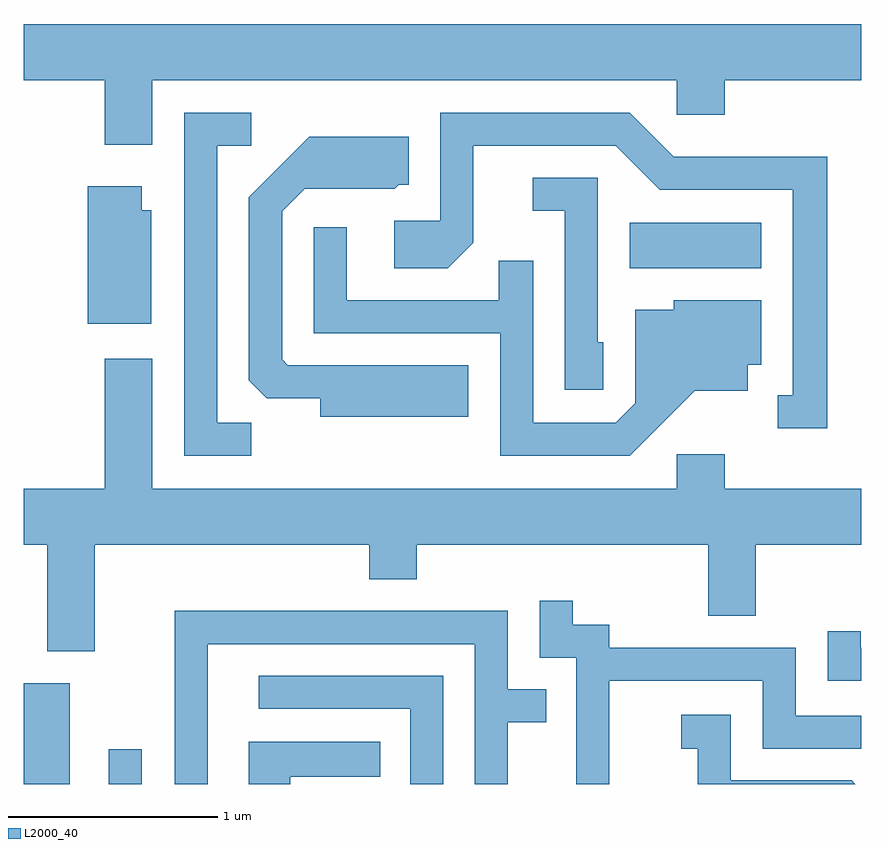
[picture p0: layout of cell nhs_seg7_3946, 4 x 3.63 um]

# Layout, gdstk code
import gdstk
lib = gdstk.Library(unit=1e-6, precision=1e-09)
def R(c, l, rs):  # rectangles x0, y0, x1, y1
    for r in rs: c.add(gdstk.rectangle(r[:2], r[2:], *l))
def P(c, l, *ps):  # polygons
    for p in ps: c.add(gdstk.Polygon(p, *l))
L2000_40 = (2000, 40)

nhs_seg7_3946 = lib.new_cell('nhs_seg7_3946')
R(nhs_seg7_3946, L2000_40, [(305.611,1744.252,305.829,1744.734), (306.016,1744.252,306.174,1744.418), (308.506,1746.716,309.134,1746.934)])
P(nhs_seg7_3946, L2000_40, [(306.224,1747.616),(308.731,1747.616),(308.731,1747.451),(308.959,1747.451),(308.959,1747.616),(309.611,1747.616),(309.611,1747.884),(305.611,1747.884),(305.611,1747.616),(305.996,1747.616),(305.996,1747.306),(306.224,1747.306)],
  [(309.449,1747.249),(308.717,1747.249),(308.507,1747.459),(307.601,1747.459),(307.601,1746.944),(307.381,1746.944),(307.381,1746.716),(307.637,1746.716),(307.759,1746.839),(307.759,1747.301),(308.439,1747.301),(308.649,1747.091),(309.286,1747.091),(309.286,1746.109),(309.213,1746.109),(309.213,1745.951),(309.449,1745.951)],
  [(306.698,1745.979),(306.534,1745.979),(306.534,1747.301),(306.698,1747.301),(306.698,1747.459),(306.376,1747.459),(306.376,1745.821),(306.698,1745.821)],
  [(307.734,1746.254),(306.872,1746.254),(306.844,1746.282),(306.844,1746.989),(306.952,1747.096),(307.382,1747.096),(307.402,1747.116),(307.449,1747.116),(307.449,1747.344),(306.974,1747.344),(306.686,1747.057),(306.686,1746.182),(306.772,1746.096),(307.026,1746.096),(307.026,1746.006),(307.734,1746.006)],
  [(308.379,1746.364),(308.354,1746.364),(308.354,1747.149),(308.043,1747.149),(308.043,1746.991),(308.196,1746.991),(308.196,1746.136),(308.379,1746.136)],
  [(306.219,1746.994),(306.174,1746.994),(306.174,1747.109),(305.916,1747.109),(305.916,1746.451),(306.219,1746.451)],
  [(308.817,1746.131),(309.069,1746.131),(309.069,1746.256),(309.134,1746.256),(309.134,1746.564),(308.716,1746.564),(308.716,1746.519),(308.531,1746.519),(308.531,1746.072),(308.439,1745.979),(308.044,1745.979),(308.044,1746.753),(307.881,1746.753),(307.881,1746.564),(307.154,1746.564),(307.154,1746.913),(306.996,1746.913),(306.996,1746.406),(307.886,1746.406),(307.886,1745.821),(308.507,1745.821)],
  [(305.949,1745.396),(307.261,1745.396),(307.261,1745.231),(307.489,1745.231),(307.489,1745.396),(308.881,1745.396),(308.881,1745.056),(309.109,1745.056),(309.109,1745.396),(309.611,1745.396),(309.611,1745.664),(308.959,1745.664),(308.959,1745.829),(308.731,1745.829),(308.731,1745.664),(306.224,1745.664),(306.224,1746.284),(305.996,1746.284),(305.996,1745.664),(305.611,1745.664),(305.611,1745.396),(305.721,1745.396),(305.721,1744.886),(305.949,1744.886)],
  [(308.409,1744.746),(309.141,1744.746),(309.141,1744.421),(309.611,1744.421),(309.611,1744.579),(309.299,1744.579),(309.299,1744.904),(308.409,1744.904),(308.409,1745.014),(308.234,1745.014),(308.234,1745.128),(308.076,1745.128),(308.076,1744.856),(308.251,1744.856),(308.251,1744.252),(308.409,1744.252)],
  [(306.489,1744.921),(307.766,1744.921),(307.766,1744.252),(307.924,1744.252),(307.924,1744.546),(308.108,1744.546),(308.108,1744.704),(307.924,1744.704),(307.924,1745.079),(306.331,1745.079),(306.331,1744.252),(306.489,1744.252)],
  [(309.611,1744.904),(309.609,1744.904),(309.609,1744.983),(309.451,1744.983),(309.451,1744.746),(309.611,1744.746)],
  [(307.614,1744.769),(306.733,1744.769),(306.733,1744.611),(307.456,1744.611),(307.456,1744.252),(307.614,1744.252)],
  [(309.567,1744.269),(308.989,1744.269),(308.989,1744.584),(308.753,1744.584),(308.753,1744.421),(308.831,1744.421),(308.831,1744.252),(309.584,1744.252)],
  [(306.884,1744.286),(307.313,1744.286),(307.313,1744.454),(306.686,1744.454),(306.686,1744.252),(306.884,1744.252)])

lib.write_gds('nhs_seg7_3946.gds')
